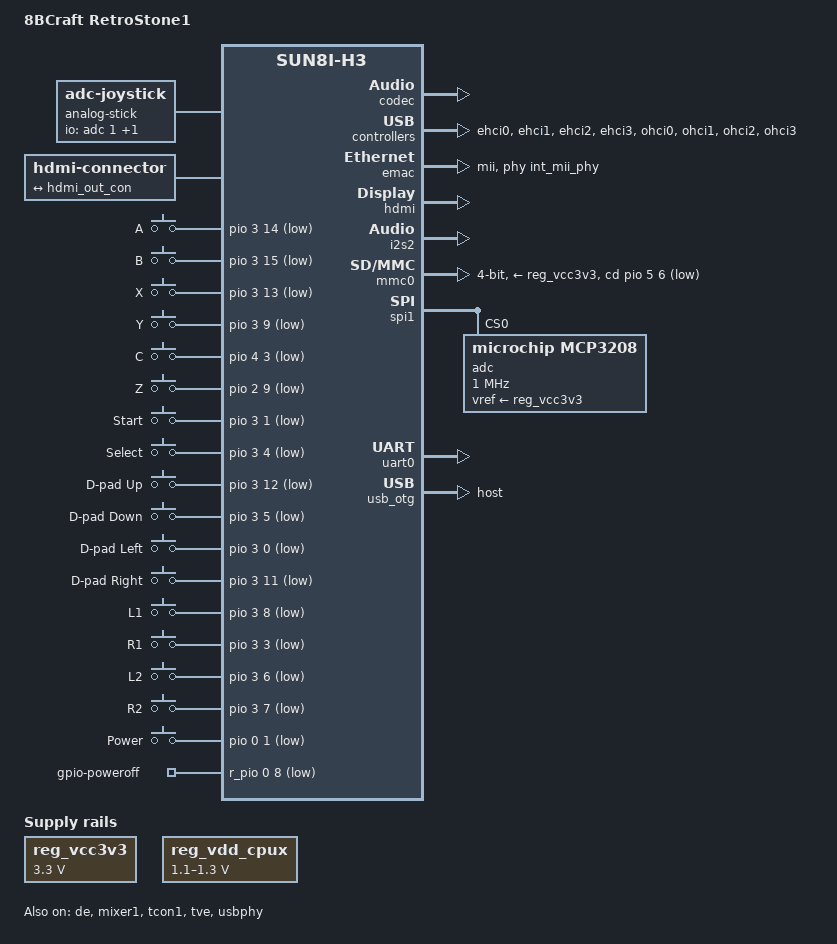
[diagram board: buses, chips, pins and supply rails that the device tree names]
// SPDX-License-Identifier: (GPL-2.0+ OR MIT)
/*
 * 8BCraft RetroStone1 handheld (Allwinner H3), device tree for RetroStoneOS.
 * Target: mainline Linux 6.18 (arch/arm/boot/dts/allwinner/).
 *
 * Pin assignments come from the RetroStone1 schematic, revision 1.18
 * (hardware/retrostoneH3-18.sch, "RetroStone Pi"), read with
 * hardware/tools/eagle_nets.py. The board follows the Orange Pi One / PC
 * reference design for the SoC side (DDR3, the PL6 CPU voltage switch, the
 * internal Ethernet PHY, HDMI), so the SoC parts are modelled on
 * sun8i-h3-orangepi-one.dts. Nothing here has run on hardware yet: every
 * TODO(hw) is listed in docs/boards.md ("RetroStone1").
 *
 * THE BUILT-IN SCREEN. The H3 has no parallel LCD interface: the RetroStone1
 * feeds its composite video output (TVOUT, the H3 TV encoder behind mixer 1
 * and TCON1) into an AMT630A CVBS-to-RGB converter (U$23), which drives the
 * 54-pin FPC panel, its backlight enable and the panel's SPI set-up from its
 * own firmware (SPI flash U$18). Mainline Linux 6.18 has no H3 TV encoder
 * driver: board/retrostone1/patches/linux/0002 adds it (from Armbian), and
 * sun8i-h3-tve-pipeline.dtsi describes mixer 1 -> TCON1 -> TVE. The screen
 * is the "Composite-1" DRM connector (board.ini internal_display =
 * composite); the frontend picks NTSC 720x480i or PAL 720x576i (board.ini
 * tv_norm). No panel timings: the AMT630A scales CVBS to the panel itself.
 * HDMI stays on mixer 0 -> TCON0, and the frontend switches between the two.
 */

/dts-v1/;
#include "sun8i-h3.dtsi"
#include "sun8i-h3-tve-pipeline.dtsi"

#include <dt-bindings/gpio/gpio.h>
#include <dt-bindings/input/input.h>

/ {
	model = "8BCraft RetroStone1";
	compatible = "8bcraft,retrostone1", "allwinner,sun8i-h3";

	aliases {
		ethernet0 = &emac;	/* U-Boot derives the MAC from the SID */
		/* The microSD is always mmcblk0 */
		mmc0 = &mmc0;
		serial0 = &uart0;
	};

	chosen {
		stdout-path = "serial0:115200n8";
	};

	/*
	 * Optional analog stick on JOYSTICK_CON (4 pins: 3.3 V, VRY, GND, VRX),
	 * read by the MCP3208 ADC (U$35) on SPI1: CH0 = Y, CH1 = X. 12-bit,
	 * VREF = 3.3 V. The io-channels index is the MCP3208 single-ended
	 * channel number. With no stick fitted the inputs float.
	 * TODO(hw): orientation (inversions), range and centre on a unit with
	 * the stick.
	 */
	analog-stick {
		compatible = "adc-joystick";
		io-channels = <&adc 1>, <&adc 0>;
		poll-interval = <10>;
		#address-cells = <1>;
		#size-cells = <0>;

		axis@0 {
			reg = <0>;
			linux,code = <ABS_X>;
			abs-range = <0 4095>;
			abs-fuzz = <16>;
			abs-flat = <300>;
		};

		axis@1 {
			reg = <1>;
			linux,code = <ABS_Y>;
			abs-range = <0 4095>;
			abs-fuzz = <16>;
			abs-flat = <300>;
		};
	};

	hdmi-connector {
		compatible = "hdmi-connector";
		type = "a";

		port {
			hdmi_con_in: endpoint {
				remote-endpoint = <&hdmi_out_con>;
			};
		};
	};

	/*
	 * Face buttons, D-pad, START/SELECT, the two extra pads and the
	 * shoulder buttons. Each one switches to GND, with an external 10k
	 * pull-up to 3.3 V (active low). Port C, D and E pins have no external
	 * interrupt on the H3, so the whole pad is polled.
	 *
	 * Codes follow Documentation/input/gamepad.rst (positional). The pads
	 * are on the bottom layer (mirrored), so seen from the front: K1 top,
	 * K4 bottom, K2 right, K3 left, the same K1-K4 layout as the
	 * RetroStone2 (K2 = A = east, K4 = B = south, K1 = X = north,
	 * K3 = Y = west). TODO(hw): confirm the labels on the case.
	 */
	gpio-keys-pad {
		compatible = "gpio-keys-polled";
		label = "RetroStone1 Buttons";
		poll-interval = <5>;

		button-a {
			label = "A";
			linux,code = <BTN_EAST>;
			gpios = <&pio 3 14 GPIO_ACTIVE_LOW>;	/* PD14, K2 */
		};

		button-b {
			label = "B";
			linux,code = <BTN_SOUTH>;
			gpios = <&pio 3 15 GPIO_ACTIVE_LOW>;	/* PD15, K4 */
		};

		button-x {
			label = "X";
			linux,code = <BTN_NORTH>;
			gpios = <&pio 3 13 GPIO_ACTIVE_LOW>;	/* PD13, K1 */
		};

		button-y {
			label = "Y";
			linux,code = <BTN_WEST>;
			gpios = <&pio 3 9 GPIO_ACTIVE_LOW>;	/* PD9, K3 */
		};

		/*
		 * Optional pads SELECT3 (top right, next to K1/K2) and SELECT4
		 * (next to K3/K4), as the RetroStone2's C and Z.
		 * TODO(hw): check whether they are fitted and which is which.
		 */
		button-c {
			label = "C";
			linux,code = <BTN_C>;
			gpios = <&pio 4 3 GPIO_ACTIVE_LOW>;	/* PE3, SELECT3 */
		};

		button-z {
			label = "Z";
			linux,code = <BTN_Z>;
			gpios = <&pio 2 9 GPIO_ACTIVE_LOW>;	/* PC9, SELECT4 */
		};

		button-start {
			label = "Start";
			linux,code = <BTN_START>;
			gpios = <&pio 3 1 GPIO_ACTIVE_LOW>;	/* PD1 */
		};

		button-select {
			label = "Select";
			linux,code = <BTN_SELECT>;
			gpios = <&pio 3 4 GPIO_ACTIVE_LOW>;	/* PD4 */
		};

		button-dpad-up {
			label = "D-pad Up";
			linux,code = <BTN_DPAD_UP>;
			gpios = <&pio 3 12 GPIO_ACTIVE_LOW>;	/* PD12, AU */
		};

		button-dpad-down {
			label = "D-pad Down";
			linux,code = <BTN_DPAD_DOWN>;
			gpios = <&pio 3 5 GPIO_ACTIVE_LOW>;	/* PD5, AD */
		};

		button-dpad-left {
			label = "D-pad Left";
			linux,code = <BTN_DPAD_LEFT>;
			gpios = <&pio 3 0 GPIO_ACTIVE_LOW>;	/* PD0, AL */
		};

		button-dpad-right {
			label = "D-pad Right";
			linux,code = <BTN_DPAD_RIGHT>;
			gpios = <&pio 3 11 GPIO_ACTIVE_LOW>;	/* PD11, AR */
		};

		/* Shoulder buttons: the 5-pin JST connector U$4 */
		button-l1 {
			label = "L1";
			linux,code = <BTN_TL>;
			gpios = <&pio 3 8 GPIO_ACTIVE_LOW>;	/* PD8, U$4 pin 1 */
		};

		button-r1 {
			label = "R1";
			linux,code = <BTN_TR>;
			gpios = <&pio 3 3 GPIO_ACTIVE_LOW>;	/* PD3, U$4 pin 2 */
		};

		button-l2 {
			label = "L2";
			linux,code = <BTN_TL2>;
			gpios = <&pio 3 6 GPIO_ACTIVE_LOW>;	/* PD6, U$4 pin 4 */
		};

		button-r2 {
			label = "R2";
			linux,code = <BTN_TR2>;
			gpios = <&pio 3 7 GPIO_ACTIVE_LOW>;	/* PD7, U$4 pin 3 */
		};
	};

	/*
	 * Side tact switch U$15 on PA1 (external 10k pull-up R113), the only
	 * side button wired to the SoC (U$36-U$38 are the AMT630A's own keys,
	 * on its ADC input). It is the power key: a short press is a clean
	 * power-off (the frontend's power module, board.ini power_key_device =
	 * auto). Its name must not start with "RetroStone1", or the frontend
	 * would merge it into the built-in pad.
	 * TODO(hw): confirm U$15's function on the case; if it is meant as a
	 * menu/hotkey button, use BTN_MODE and move it into the pad above.
	 */
	gpio-keys-power {
		compatible = "gpio-keys";
		label = "Power Key";

		key-power {
			label = "Power";
			linux,code = <KEY_POWER>;
			gpios = <&pio 0 1 GPIO_ACTIVE_LOW>;	/* PA1, U$15 */
			debounce-interval = <20>;
		};
	};

	/*
	 * Power-off: there is no PMIC. The slide switch U$6 cuts the system
	 * rail (VBAT, after the MCP73871 charger's power path) in hardware.
	 * PL8 "PWR-STB" (pulled up by R5) enables the CPU and 3.3 V bucks of
	 * the quad DC-DC U57; driving it low after the kernel's shutdown turns
	 * off the CPU, the 3.3 V rail, the AMT630A and the screen, so the user
	 * sees that the console can be switched off. Higher priority than the
	 * PSCI handler (U-Boot's PSCI has no SYSTEM_OFF on sunxi).
	 * PL9 "PWR-DRAM" (the DRAM rail) stays up.
	 * TODO(hw): check that power-off really turns the screen off, and the
	 * current drawn afterwards (the slide switch must still be turned off).
	 *
	 * The driver pulses the line: active, active-delay-ms, inactive,
	 * inactive-delay-ms, active again, then timeout-ms. With the default
	 * 100 ms the line went back high (bucks enabled again) while the rails
	 * were still collapsing, which could restart the board. Held active
	 * for 3 s instead: the CPU is off long before the line would be
	 * released. "input": the line stays an input (R5 pulls it up) until
	 * the power-off, never driven by the probe.
	 * TODO(hw): the board stays off (no restart) after a power-off, over
	 * several tries (docs/boards.md, RetroStone1 tests).
	 */
	gpio-poweroff {
		compatible = "gpio-poweroff";
		gpios = <&r_pio 0 8 GPIO_ACTIVE_LOW>;	/* PL8, PWR-STB */
		priority = <128>;
		input;
		active-delay-ms = <3000>;
		inactive-delay-ms = <100>;
		timeout-ms = <3000>;
	};

	/*
	 * Main 3.3 V rail (U57 buck 3, enabled by PL8). It feeds the I/O
	 * banks, the SD card, the AMT630A and the panel. Not switched by
	 * software while running.
	 */
	reg_vcc3v3: regulator-vcc3v3 {
		compatible = "regulator-fixed";
		regulator-name = "vcc3v3";
		regulator-min-microvolt = <3300000>;
		regulator-max-microvolt = <3300000>;
		regulator-always-on;
	};

	/*
	 * CPU supply: U57 buck 1 with FET2 switching R14 into its feedback
	 * divider from PL6 (CPUX-VSET, pulled up by R15): 1.1 V with PL6 low,
	 * 1.3 V with PL6 high (Vout = 0.6 x (1 + 10k / 11.8k) or
	 * 0.6 x (1 + 10k / (11.8k || 30k))). The Orange Pi One scheme.
	 */
	reg_vdd_cpux: vdd-cpux-regulator {
		compatible = "regulator-gpio";
		regulator-name = "vdd-cpux";
		regulator-type = "voltage";
		regulator-boot-on;
		regulator-always-on;
		regulator-min-microvolt = <1100000>;
		regulator-max-microvolt = <1300000>;
		regulator-ramp-delay = <50>; /* 4ms */

		gpios = <&r_pio 0 6 GPIO_ACTIVE_HIGH>;	/* PL6 */
		enable-active-high;
		gpios-states = <0x1>;
		states = <1100000 0>, <1300000 1>;
	};

	/*
	 * HDMI audio: I2S2 feeding the DesignWare HDMI controller (the
	 * LibreELEC/Armbian card, as board/orangepi-h3/patches/linux/0001
	 * adds for the Orange Pi boards).
	 */
	sound-hdmi {
		compatible = "simple-audio-card";
		simple-audio-card,format = "i2s";
		simple-audio-card,name = "allwinner-hdmi";
		simple-audio-card,mclk-fs = <128>;
		simple-audio-card,frame-inversion;

		simple-audio-card,codec {
			sound-dai = <&hdmi>;
		};

		simple-audio-card,cpu {
			sound-dai = <&i2s2>;
			dai-tdm-slot-num = <2>;
			dai-tdm-slot-width = <32>;
		};
	};
};

/*
 * Analog codec: LINEOUT L/R -> the analog volume wheel U$27 -> the
 * headphone jack U$24, whose switch contacts feed the mono PAM8302A speaker
 * amplifier (U1-A, /SD tied to VBAT: always on, no enable GPIO, no
 * headphone-detect GPIO). Volume and speaker/headphone switching are
 * analog: the board hook sets the line out to a fixed level.
 */
&codec {
	allwinner,audio-routing = "Line Out", "LINEOUT";
	status = "okay";
};

&cpu0 {
	cpu-supply = <&reg_vdd_cpux>;
};

&de {
	status = "okay";
};

/*
 * Four USB-A ports (USB1 and USB2 are stacked pairs), all powered from the
 * SY6280 switch U8 whose EN is tied to +5 V: VBUS is always on.
 * USB2 = USB0 (the OTG controller, host only) and USB1; USB1 = USB2 and USB3.
 */
&ehci0 {
	status = "okay";
};

&ehci1 {
	status = "okay";
};

&ehci2 {
	status = "okay";
};

&ehci3 {
	status = "okay";
};

/*
 * RJ45 CON1 with magnetics on the internal PHY; link/speed LEDs to 3.3 V
 * through R44/R45 (active low). The driver is a module that rsos-net loads
 * only when Ethernet is turned on (board.ini eth_modules).
 */
&emac {
	phy-handle = <&int_mii_phy>;
	phy-mode = "mii";
	allwinner,leds-active-low;
	status = "okay";
};

&hdmi {
	#sound-dai-cells = <0>;
	status = "okay";
};

&hdmi_out {
	hdmi_out_con: endpoint {
		remote-endpoint = <&hdmi_con_in>;
	};
};

&i2s2 {
	status = "okay";
};

/*
 * The built-in screen: mixer 1 -> TCON1 -> TV encoder -> TVOUT -> the
 * AMT630A (U$23) CVBS input. TODO(hw): NTSC/PAL, picture position and
 * overscan on the panel (docs/boards.md, "RetroStone1").
 */
&mixer1 {
	status = "okay";
};

/*
 * microSD, card detect PF6 with the external 10k pull-up R16. The card is
 * on the always-on 3.3 V rail: no ramp to wait for (see the RetroStone2
 * DTS).
 */
&mmc0 {
	vmmc-supply = <&reg_vcc3v3>;
	bus-width = <4>;
	cd-gpios = <&pio 5 6 GPIO_ACTIVE_LOW>;	/* PF6 */
	post-power-on-delay-ms = <1>;
	status = "okay";
};

/*
 * No eMMC and no on-board WiFi: PG0-PG5 (SDIO), PL0 (WIFI_EN), PL7
 * (WIFI-POWER-EN) and PA11 (WL-WAKE-HOST) only go to test pads JP8-JP16 for
 * an optional module, which is not described here.
 */

&ohci0 {
	status = "okay";
};

&ohci1 {
	status = "okay";
};

&ohci2 {
	status = "okay";
};

&ohci3 {
	status = "okay";
};

/*
 * MCP3208 8-channel 12-bit ADC U$35 on SPI1 (PA13 CS, PA14 CLK, PA15 MOSI,
 * PA16 MISO): CH0/CH1 = the analog stick. CH2 is wired straight to VBAT
 * with no divider, so with VREF = 3.3 V it saturates for any charged cell:
 * no battery level (docs/boards.md). CH3-CH7 go to test pads.
 */
&spi1 {
	status = "okay";

	adc: adc@0 {
		compatible = "microchip,mcp3208";
		reg = <0>;
		spi-max-frequency = <1000000>;
		vref-supply = <&reg_vcc3v3>;
		#io-channel-cells = <1>;
	};
};

/* TCON1 and the TV encoder of the built-in screen (see &mixer1) */
&tcon1 {
	status = "okay";
};

&tve {
	status = "okay";
};

/* Debug console, header UART0-DBG (PA4 TX, PA5 RX through D1), 115200 */
&uart0 {
	pinctrl-names = "default";
	pinctrl-0 = <&uart0_pa_pins>;
	status = "okay";
};

&usb_otg {
	dr_mode = "host";
	status = "okay";
};

/* VBUS always on, no ID pin */
&usbphy {
	status = "okay";
};
